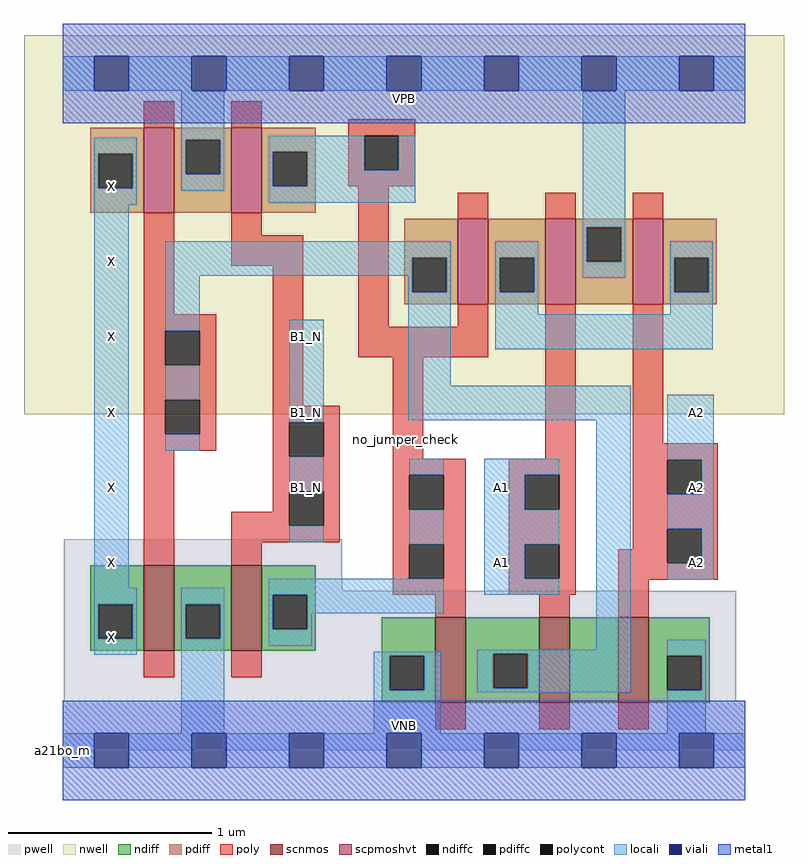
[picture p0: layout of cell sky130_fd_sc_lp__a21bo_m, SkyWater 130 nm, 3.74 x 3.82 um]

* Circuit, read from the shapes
.subckt sky130_fd_sc_lp__a21bo_m A1 A2 B1_N VGND VNB VPB VPWR X
XM1 VGND n1 X VNB sky130_fd_pr__nfet_01v8 w=0.42 l=0.15
XM2 n2 B1_N VGND VNB sky130_fd_pr__nfet_01v8 w=0.42 l=0.15
XM3 n1 n2 VGND VNB sky130_fd_pr__nfet_01v8 w=0.42 l=0.15
XM4 n3 A1 n1 VNB sky130_fd_pr__nfet_01v8 w=0.42 l=0.15
XM5 VGND A2 n3 VNB sky130_fd_pr__nfet_01v8 w=0.42 l=0.15
XM6 VPWR n1 X VPB sky130_fd_pr__pfet_01v8_hvt w=0.42 l=0.15
XM7 n2 B1_N VPWR VPB sky130_fd_pr__pfet_01v8_hvt w=0.42 l=0.15
XM8 n4 n2 n1 VPB sky130_fd_pr__pfet_01v8_hvt w=0.42 l=0.15
XM9 VPWR A1 n4 VPB sky130_fd_pr__pfet_01v8_hvt w=0.42 l=0.15
XM10 n4 A2 VPWR VPB sky130_fd_pr__pfet_01v8_hvt w=0.42 l=0.15
.ends

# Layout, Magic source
magic
tech sky130A
magscale 1 2
<< nwell >>
rect -38 331 710 704
<< pwell >>
rect 1 157 275 208
rect 1 49 663 157
rect 0 0 672 49
<< scnmos >>
rect 80 98 110 182
rect 166 98 196 182
rect 367 47 397 131
rect 469 47 499 131
rect 547 47 577 131
<< scpmoshvt >>
rect 80 529 110 613
rect 166 529 196 613
rect 389 439 419 523
rect 475 439 505 523
rect 561 439 591 523
<< ndiff >>
rect 27 144 80 182
rect 27 110 35 144
rect 69 110 80 144
rect 27 98 80 110
rect 110 144 166 182
rect 110 110 121 144
rect 155 110 166 144
rect 110 98 166 110
rect 196 153 249 182
rect 196 119 207 153
rect 241 119 249 153
rect 196 98 249 119
rect 314 93 367 131
rect 314 59 322 93
rect 356 59 367 93
rect 314 47 367 59
rect 397 95 469 131
rect 397 61 424 95
rect 458 61 469 95
rect 397 47 469 61
rect 499 47 547 131
rect 577 93 637 131
rect 577 59 595 93
rect 629 59 637 93
rect 577 47 637 59
<< pdiff >>
rect 27 587 80 613
rect 27 553 35 587
rect 69 553 80 587
rect 27 529 80 553
rect 110 601 166 613
rect 110 567 121 601
rect 155 567 166 601
rect 110 529 166 567
rect 196 589 249 613
rect 196 555 207 589
rect 241 555 249 589
rect 196 529 249 555
rect 336 485 389 523
rect 336 451 344 485
rect 378 451 389 485
rect 336 439 389 451
rect 419 485 475 523
rect 419 451 430 485
rect 464 451 475 485
rect 419 439 475 451
rect 505 515 561 523
rect 505 481 516 515
rect 550 481 561 515
rect 505 439 561 481
rect 591 485 644 523
rect 591 451 602 485
rect 636 451 644 485
rect 591 439 644 451
<< ndiffc >>
rect 35 110 69 144
rect 121 110 155 144
rect 207 119 241 153
rect 322 59 356 93
rect 424 61 458 95
rect 595 59 629 93
<< pdiffc >>
rect 35 553 69 587
rect 121 567 155 601
rect 207 555 241 589
rect 344 451 378 485
rect 430 451 464 485
rect 516 481 550 515
rect 602 451 636 485
<< poly >>
rect 80 613 110 639
rect 166 613 196 639
rect 281 605 347 621
rect 281 571 297 605
rect 331 571 347 605
rect 281 555 347 571
rect 80 429 110 529
rect 166 507 196 529
rect 166 477 237 507
rect 80 413 151 429
rect 80 379 101 413
rect 135 379 151 413
rect 80 345 151 379
rect 80 311 101 345
rect 135 311 151 345
rect 80 295 151 311
rect 207 339 237 477
rect 291 417 321 555
rect 389 523 419 549
rect 475 523 505 549
rect 561 523 591 549
rect 389 417 419 439
rect 291 387 419 417
rect 207 323 273 339
rect 80 182 110 295
rect 207 289 223 323
rect 257 289 273 323
rect 207 255 273 289
rect 207 235 223 255
rect 166 221 223 235
rect 257 221 273 255
rect 166 205 273 221
rect 325 287 355 387
rect 475 287 505 439
rect 325 271 397 287
rect 325 237 341 271
rect 375 237 397 271
rect 166 182 196 205
rect 325 203 397 237
rect 325 169 341 203
rect 375 169 397 203
rect 325 153 397 169
rect 439 271 505 287
rect 439 237 455 271
rect 489 237 505 271
rect 439 203 505 237
rect 439 169 455 203
rect 489 169 505 203
rect 561 302 591 439
rect 561 286 645 302
rect 561 252 595 286
rect 629 252 645 286
rect 561 218 645 252
rect 561 198 595 218
rect 439 153 505 169
rect 547 184 595 198
rect 629 184 645 218
rect 547 168 645 184
rect 367 131 397 153
rect 469 131 499 153
rect 547 131 577 168
rect 80 72 110 98
rect 166 72 196 98
rect 367 21 397 47
rect 469 21 499 47
rect 547 21 577 47
<< polycont >>
rect 297 571 331 605
rect 101 379 135 413
rect 101 311 135 345
rect 223 289 257 323
rect 223 221 257 255
rect 341 237 375 271
rect 341 169 375 203
rect 455 237 489 271
rect 455 169 489 203
rect 595 252 629 286
rect 595 184 629 218
<< locali >>
rect 0 649 31 683
rect 65 649 127 683
rect 161 649 223 683
rect 257 649 319 683
rect 353 649 415 683
rect 449 649 511 683
rect 545 649 607 683
rect 641 649 672 683
rect 31 587 73 603
rect 31 553 35 587
rect 69 553 73 587
rect 31 537 73 553
rect 117 601 159 649
rect 117 567 121 601
rect 155 567 159 601
rect 117 551 159 567
rect 203 589 297 605
rect 203 555 207 589
rect 241 571 297 589
rect 331 571 347 605
rect 241 555 347 571
rect 203 539 347 555
rect 31 160 65 537
rect 512 515 554 649
rect 101 485 382 501
rect 101 467 344 485
rect 101 413 135 467
rect 340 451 344 467
rect 378 451 382 485
rect 101 345 135 379
rect 101 295 135 311
rect 223 323 257 424
rect 340 359 382 451
rect 426 485 468 501
rect 426 451 430 485
rect 464 451 468 485
rect 512 481 516 515
rect 550 481 554 515
rect 512 465 554 481
rect 598 485 640 501
rect 426 429 468 451
rect 598 451 602 485
rect 636 451 640 485
rect 598 429 640 451
rect 426 395 640 429
rect 340 325 559 359
rect 223 255 257 289
rect 223 205 257 221
rect 341 271 375 287
rect 341 203 375 237
rect 31 144 73 160
rect 31 110 35 144
rect 69 110 73 144
rect 31 94 73 110
rect 117 144 159 160
rect 117 110 121 144
rect 155 110 159 144
rect 117 17 159 110
rect 203 153 375 169
rect 415 271 489 287
rect 415 237 455 271
rect 415 203 489 237
rect 415 169 455 203
rect 415 153 489 169
rect 203 119 207 153
rect 241 135 375 153
rect 241 119 245 135
rect 203 103 245 119
rect 525 99 559 325
rect 595 286 641 350
rect 629 252 641 286
rect 595 218 641 252
rect 629 184 641 218
rect 595 168 641 184
rect 306 93 372 97
rect 306 59 322 93
rect 356 59 372 93
rect 306 17 372 59
rect 408 95 559 99
rect 408 61 424 95
rect 458 61 559 95
rect 408 57 559 61
rect 595 93 633 109
rect 629 59 633 93
rect 595 17 633 59
rect 0 -17 31 17
rect 65 -17 127 17
rect 161 -17 223 17
rect 257 -17 319 17
rect 353 -17 415 17
rect 449 -17 511 17
rect 545 -17 607 17
rect 641 -17 672 17
<< viali >>
rect 31 649 65 683
rect 127 649 161 683
rect 223 649 257 683
rect 319 649 353 683
rect 415 649 449 683
rect 511 649 545 683
rect 607 649 641 683
rect 31 -17 65 17
rect 127 -17 161 17
rect 223 -17 257 17
rect 319 -17 353 17
rect 415 -17 449 17
rect 511 -17 545 17
rect 607 -17 641 17
<< metal1 >>
rect 0 683 672 715
rect 0 649 31 683
rect 65 649 127 683
rect 161 649 223 683
rect 257 649 319 683
rect 353 649 415 683
rect 449 649 511 683
rect 545 649 607 683
rect 641 649 672 683
rect 0 617 672 649
rect 0 17 672 49
rect 0 -17 31 17
rect 65 -17 127 17
rect 161 -17 223 17
rect 257 -17 319 17
rect 353 -17 415 17
rect 449 -17 511 17
rect 545 -17 607 17
rect 641 -17 672 17
rect 0 -49 672 -17
<< labels >>
flabel pwell s 0 0 672 49 0 FreeSans 200 0 0 0 VNB
port 5 nsew ground bidirectional
flabel nwell s 0 617 672 666 0 FreeSans 200 0 0 0 VPB
port 6 nsew power bidirectional
rlabel comment s 0 0 0 0 4 a21bo_m
flabel comment s 337 306 337 306 0 FreeSans 200 90 0 0 no_jumper_check
flabel metal1 s 0 617 672 666 0 FreeSans 340 0 0 0 VPWR
port 7 nsew power bidirectional
flabel metal1 s 0 0 672 49 0 FreeSans 340 0 0 0 VGND
port 4 nsew ground bidirectional
flabel locali s 607 168 641 202 0 FreeSans 340 0 0 0 A2
port 2 nsew signal input
flabel locali s 607 242 641 276 0 FreeSans 340 0 0 0 A2
port 2 nsew signal input
flabel locali s 607 316 641 350 0 FreeSans 340 0 0 0 A2
port 2 nsew signal input
flabel locali s 223 242 257 276 0 FreeSans 340 0 0 0 B1_N
port 3 nsew signal input
flabel locali s 223 316 257 350 0 FreeSans 340 0 0 0 B1_N
port 3 nsew signal input
flabel locali s 223 390 257 424 0 FreeSans 340 0 0 0 B1_N
port 3 nsew signal input
flabel locali s 415 168 449 202 0 FreeSans 340 0 0 0 A1
port 1 nsew signal input
flabel locali s 415 242 449 276 0 FreeSans 340 0 0 0 A1
port 1 nsew signal input
flabel locali s 31 94 65 128 0 FreeSans 340 0 0 0 X
port 8 nsew signal output
flabel locali s 31 168 65 202 0 FreeSans 340 0 0 0 X
port 8 nsew signal output
flabel locali s 31 242 65 276 0 FreeSans 340 0 0 0 X
port 8 nsew signal output
flabel locali s 31 316 65 350 0 FreeSans 340 0 0 0 X
port 8 nsew signal output
flabel locali s 31 390 65 424 0 FreeSans 340 0 0 0 X
port 8 nsew signal output
flabel locali s 31 464 65 498 0 FreeSans 340 0 0 0 X
port 8 nsew signal output
flabel locali s 31 538 65 572 0 FreeSans 340 0 0 0 X
port 8 nsew signal output
<< properties >>
string LEFsite unit
string LEFclass CORE
string FIXED_BBOX 0 0 672 666
string GDS_FILE $PDKPATH/libs.ref/sky130_fd_sc_lp/gds/sky130_fd_sc_lp.gds
string LEFsymmetry X Y R90
string GDS_END 3752326
string GDS_START 3744600
<< end >>
